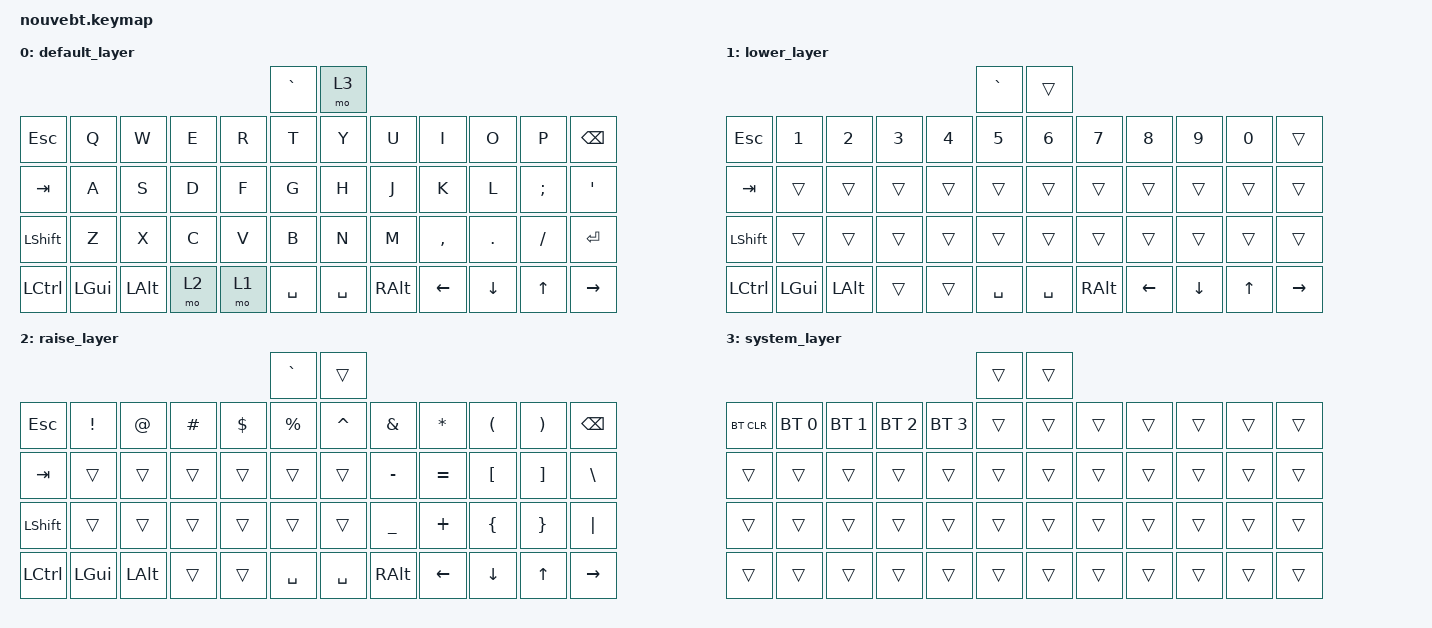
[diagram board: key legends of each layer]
#include <behaviors.dtsi>
#include <dt-bindings/zmk/keys.h>
#include <dt-bindings/zmk/bt.h>

/ {
    keymap {
        compatible = "zmk,keymap";

        // layer 0
        default_layer {
            bindings = <
&kp GRAVE                                                                     &mo 3
&kp ESC      &kp Q      &kp W      &kp E      &kp R      &kp T        &kp Y      &kp U      &kp I      &kp O      &kp P      &kp BSPC
&kp TAB      &kp A      &kp S      &kp D      &kp F      &kp G      &kp H   &kp J      &kp K      &kp L      &kp SEMI      &kp SQT
&kp LSHIFT      &kp Z      &kp X      &kp C      &kp V      &kp B   &kp N &kp M      &kp COMMA      &kp DOT  &kp FSLH    &kp ENTER
&kp LCTRL  &kp LGUI   &kp LALT   &mo 2  &mo 1  &kp SPACE      &kp SPACE    &kp RALT  &kp LEFT  &kp DOWN   &kp UP   &kp RIGHT
            >;
        };

        // layer 1
        lower_layer {
            bindings = <
&kp GRAVE                                                                      &trans
&kp ESC     &kp N1     &kp N2     &kp N3     &kp N4     &kp N5       &kp N6     &kp N7     &kp N8     &kp N9     &kp N0     &trans
&kp TAB     &trans     &trans     &trans     &trans     &trans       &trans     &trans     &trans     &trans     &trans     &trans
&kp LSHIFT     &trans     &trans     &trans     &trans     &trans       &trans     &trans     &trans     &trans     &trans     &trans
&kp LCTRL  &kp LGUI   &kp LALT   &trans  &trans  &kp SPACE      &kp SPACE    &kp RALT  &kp LEFT  &kp DOWN   &kp UP   &kp RIGHT
            >;
        };

        // layer 2
        raise_layer {
            bindings = <
&kp GRAVE                                                                      &trans
&kp ESC     &kp EXCL &kp AT &kp HASH &kp DLLR &kp PRCNT   &kp CARET &kp AMPS  &kp ASTRK &kp LPAR &kp RPAR     &kp BSPC
&kp TAB     &trans     &trans     &trans     &trans     &trans       &trans     &kp MINUS &kp EQUAL &kp LBKT  &kp RBKT &kp BSLH
&kp LSHIFT     &trans     &trans     &trans     &trans     &trans       &trans     &kp UNDER &kp PLUS  &kp LBRC  &kp RBRC &kp PIPE 
&kp LCTRL  &kp LGUI   &kp LALT   &trans  &trans  &kp SPACE      &kp SPACE    &kp RALT  &kp LEFT  &kp DOWN   &kp UP   &kp RIGHT
            >;
        };
        // layer 3
        system_layer {
            bindings = <
&trans                                                                  &trans
&bt BT_CLR &bt BT_SEL 0 &bt BT_SEL 1 &bt BT_SEL 2 &bt BT_SEL 3     &trans       &trans     &trans     &trans     &trans     &trans     &trans
&trans       &trans       &trans       &trans       &trans     &trans       &trans     &trans     &trans     &trans     &trans     &trans
&trans       &trans       &trans       &trans       &trans     &trans       &trans     &trans     &trans     &trans     &trans     &trans
&trans       &trans       &trans       &trans       &trans     &trans       &trans     &trans     &trans     &trans     &trans     &trans
            >;
        };
    };
};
